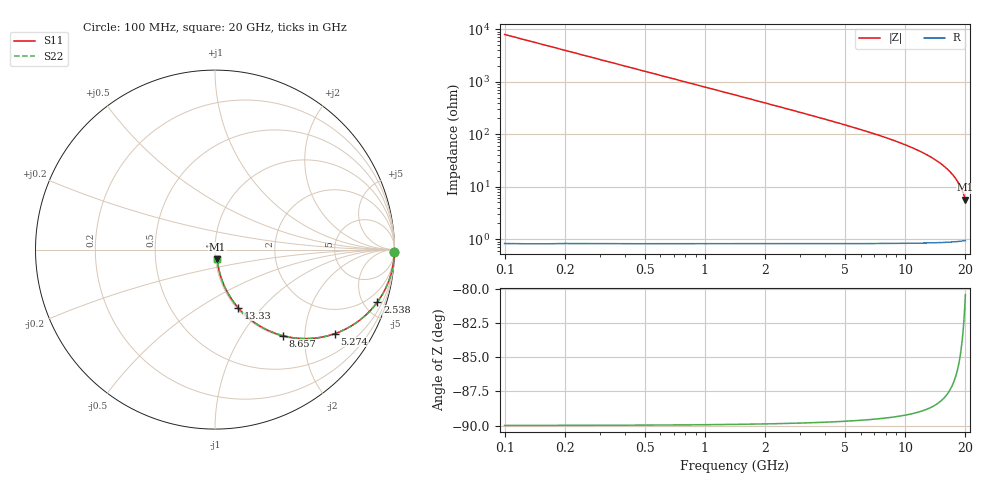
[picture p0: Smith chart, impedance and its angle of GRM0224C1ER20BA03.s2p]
!Murata Part Number: GRM0224C1ER20BA03
!These Parameters are Measured in Series Mode Connection
!Data Generated on Mar 30, 2021
!  o--ll--o
!Port1  Port2
!  o------o
!Operation Temp=25[degC], DC Bias Voltage=0[V]
!Freq. Start=100[MHz] Stop=20[GHz] 401[Steps]
# Hz S RI R 50
!Freq.(Hz) S11(Real) S11(Imag) S21(Real) S21(Imag) S12(Real) S12(Imag) S22(Real) S22(Imag)
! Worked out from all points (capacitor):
!   401 points, 100 MHz to 20 GHz, reference 50 ohm
!   read as one part in series: C = 200 fF near 199.5 MHz
!   lowest |Z| = 5.65 ohm at 20 GHz (marker M1)
!   S11 on the Smith chart (normalised r, x): 100 MHz: open; 2.538 GHz: 1.02, -6.19; 5.274 GHz: 1.02, -2.84; 8.657 GHz: 1.02, -1.55; 13.33 GHz: 1.02, -0.75; 20 GHz: 1.02, -0.11
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1e8  0.9998 -0.0126  0.000159 0.0126  0.000159 0.0126  0.9998 -0.0126
2.99e8  0.9986 -0.0375  0.00142 0.0375  0.00142 0.0375  0.9986 -0.0375
3.985e8  0.9975 -0.05  0.00252 0.05  0.00252 0.05  0.9975 -0.05
5.975e8  0.9943 -0.0747  0.00566 0.0747  0.00566 0.0747  0.9943 -0.0747
7.965e8  0.99 -0.0992  0.01 0.0992  0.01 0.0992  0.99 -0.0992
1.095e9  0.9812 -0.1353  0.0188 0.1353  0.0188 0.1353  0.9812 -0.1353
1.493e9  0.9654 -0.1819  0.0346 0.1819  0.0346 0.1819  0.9654 -0.1819
1.9905e9  0.9398 -0.2369  0.0602 0.2369  0.0602 0.2369  0.9398 -0.2369
2.53775e9  0.9048 -0.2922  0.0952 0.2922  0.0952 0.2922  0.9048 -0.2922
3.43325e9  0.8355 -0.3689  0.1645 0.3689  0.1645 0.3689  0.8355 -0.3689
5.274e9  0.6681 -0.468  0.3319 0.468  0.3319 0.468  0.6681 -0.468
6.7665e9  0.5308 -0.4952  0.4692 0.4952  0.4692 0.4952  0.5308 -0.4952
8.657e9  0.3769 -0.4793  0.6231 0.4793  0.6231 0.4793  0.3769 -0.4793
1.005e10  0.2835 -0.4441  0.7165 0.4441  0.7165 0.4441  0.2835 -0.4441
1.33335e10  0.1284 -0.3234  0.8716 0.3234  0.8716 0.3234  0.1284 -0.3234
1.338325e10  0.1267 -0.3214  0.8733 0.3214  0.8733 0.3214  0.1267 -0.3214
1.5224e10  0.0737 -0.2456  0.9263 0.2456  0.9263 0.2456  0.0737 -0.2456
1.67165e10  0.0442 -0.1842  0.9558 0.1842  0.9558 0.1842  0.0442 -0.1842
1.776125e10  0.0296 -0.142  0.9704 0.142  0.9704 0.142  0.0296 -0.142
1.8607e10  0.021 -0.1084  0.979 0.1084  0.979 0.1084  0.021 -0.1084
1.93035e10  0.0159 -0.0813  0.9841 0.0813  0.9841 0.0813  0.0159 -0.0813
2e10  0.0123 -0.0545  0.9877 0.0545  0.9877 0.0545  0.0123 -0.0545
